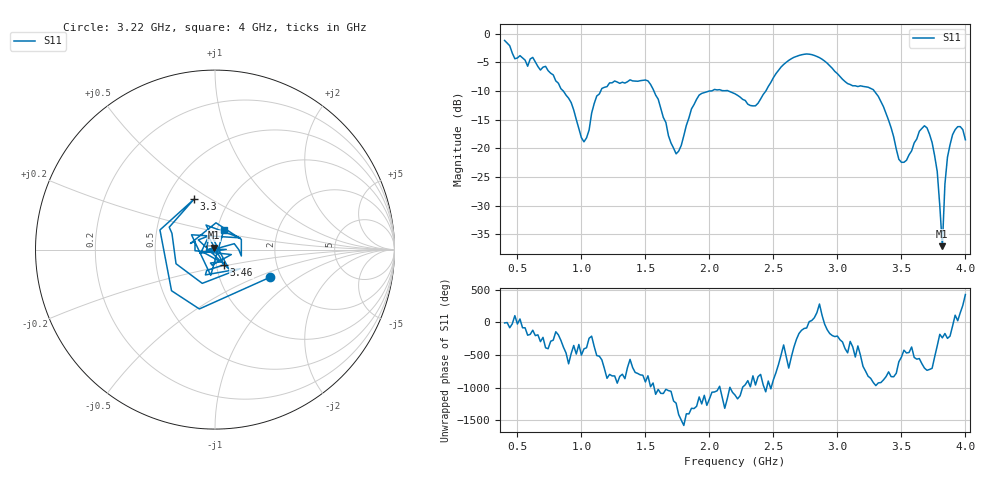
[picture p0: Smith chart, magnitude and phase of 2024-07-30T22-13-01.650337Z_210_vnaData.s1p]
!Created with skrf (http://scikit-rf.org).
# Hz S RI R 50.0
!freq ReS11 ImS11
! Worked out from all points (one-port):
!   181 points, 400 MHz to 4 GHz, reference 50 ohm
!   lowest |S11| = -37.1 dB at 3.82 GHz (marker M1), VSWR 1.03, Z = 49.2 + j1.15 ohm
!   |S11| at or under -10 dB: 859 MHz to 1.15 GHz (291.4 MHz wide, 29 % of centre); 1.567 GHz to 1.998 GHz (431.1 MHz wide, 24.2 % of centre); 3.288 GHz to end of sweep (the widest 3 of 4)
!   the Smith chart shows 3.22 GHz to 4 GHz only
!   S11 on the Smith chart (normalised r, x): 3.22 GHz: 1.76, -0.61; 3.3 GHz: 0.68, +0.42; 3.46 GHz: 1.09, -0.19; 4 GHz: 1.08, +0.24
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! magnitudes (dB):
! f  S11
! 400 MHz  -1.2
! 480 MHz  -4.4
! 620 MHz  -4.1
! 860 MHz  -10.0
! 1.02 GHz  -18.9
! 1.12 GHz  -10.9
! 1.3 GHz  -8.6
! 1.52 GHz  -8.2
! 1.76 GHz  -20.5
! 1.92 GHz  -10.7
! 2.2 GHz  -10.5
! 2.36 GHz  -12.6
! 2.66 GHz  -4.1
! 2.86 GHz  -4.2
! 3.1 GHz  -8.9
! 3.22 GHz  -9.3
! 3.3 GHz  -10.3
! 3.46 GHz  -20.1
! 3.5 GHz  -22.4
! 3.56 GHz  -21.1
! 3.68 GHz  -16.1
! 3.72 GHz  -17.5
! 3.78 GHz  -24.1
! 3.82 GHz  -37.1
! 3.84 GHz  -26.3
! 3.88 GHz  -19.4
! 3.94 GHz  -16.2
! 4 GHz  -18.5
